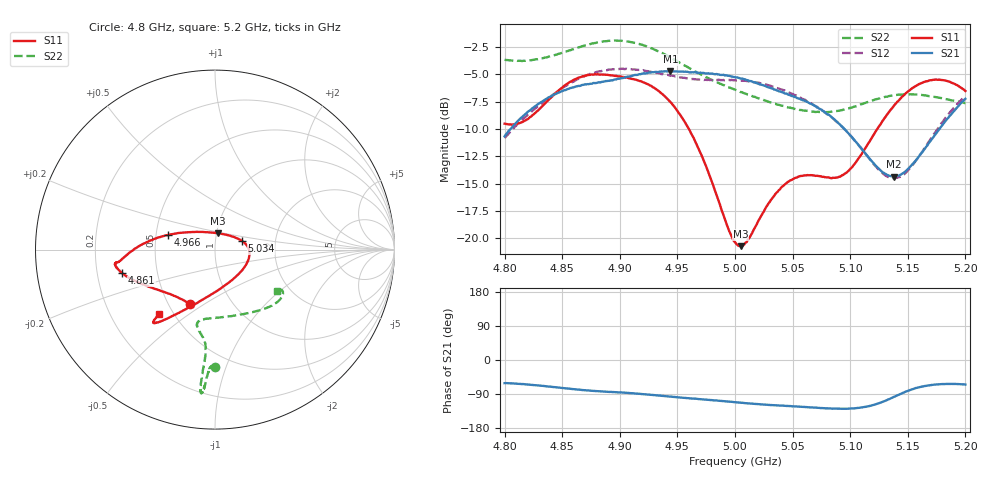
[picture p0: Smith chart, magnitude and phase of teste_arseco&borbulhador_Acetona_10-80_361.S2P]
! Network Analyzer HP8722D
! Hewlett-Packard
! Data name: Linha & Wilkinson
! Saver's name: Rodrigo Anjos
! Comments: Teste da utilização de aquisição
! continua pelo VNA HP8722D
! Time and date: 17/4/2025 17:22
!  Frequency  S11  S21  S12  S22
# HZ  S  MA R 50
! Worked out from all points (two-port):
!   401 points, 4.8 GHz to 5.2 GHz, reference 50 ohm
!   highest |S21| = -4.70 dB at 4.944 GHz (marker M1); lowest = -14.4 dB at 5.138 GHz (marker M2)
!   |S21| within 3 dB of the highest: 4.829 GHz to 5.066 GHz (236.8 MHz wide, 4.79 % of centre); 5.195515 GHz to end of sweep
!   lowest |S11| = -20.7 dB at 5.005 GHz (marker M3), VSWR 1.20, Z = 50.6 + j9.29 ohm
!   |S11| at or under -10 dB: 4.96 GHz to 5.123 GHz (163.3 MHz wide, 3.24 % of centre)
!   |S22| runs from -8.5 to -1.9 dB; largest |S21 - S12| = 0.87
!   S11 on the Smith chart (normalised r, x): 4.8 GHz: 0.64, -0.44; 4.861 GHz: 0.31, -0.11; 4.966 GHz: 0.58, +0.10; 5.034 GHz: 1.34, +0.14; 5.2 GHz: 0.42, -0.39
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4.8e9  0.3349 -114.1  0.2934 -61.1  0.2875 -175.1  0.6562 -90.2
4.819e9  0.3493 -133.9  0.374 -64.4  0.363 -173.9  0.6515 -91.8
4.861e9  0.5348 -165.8  0.493 -77.3  0.527 -177.0  0.7377 -94.0
4.867e9  0.5498 -168.2  0.503 -79.2  0.5454 -178.4  0.7562 -94.2
4.902e9  0.5481 -172.7  0.5411 -85.8  0.597 174.7  0.8011 -95.7
4.934e9  0.4715 -178.4  0.578 -94.1  0.5696 171.6  0.7144 -96.0
4.944e9  0.4205 177.1  0.5823 -96.7  0.5549 171.6  0.6725 -95.7
4.966e9  0.2744 162.7  0.5747 -102.2  0.534 173.5  0.5788 -95.1
5e9  0.09614 99.9  0.547 -111.3  0.5302 175.9  0.4789 -99.1
5.005e9  0.09215 81.3  0.5387 -112.8  0.5271 175.8  0.4668 -100.3
5.012e9  0.09994 57.8  0.5261 -114.6  0.5222 175.7  0.454 -101.8
5.034e9  0.1565 18.3  0.4797 -119.4  0.4931 174.5  0.4132 -103.3
5.05e9  0.1863 2.1  0.4483 -122.3  0.4579 173.8  0.3943 -99.2
5.067e9  0.1946 -16.1  0.4103 -125.2  0.4124 173.4  0.3802 -90.2
5.085e9  0.1894 -44.6  0.3549 -128.5  0.354 173.5  0.3816 -76.7
5.097e9  0.2004 -68.7  0.3083 -128.7  0.3085 174.7  0.3913 -66.9
5.123e9  0.3141 -108.6  0.2129 -116.0  0.2114 -170.6  0.434 -48.6
5.134e9  0.3803 -117.4  0.1933 -103.0  0.1896 -155.8  0.4484 -43.0
5.138e9  0.4048 -119.5  0.1916 -97.3  0.1885 -149.5  0.4512 -41.2
5.15e9  0.4696 -124.9  0.2072 -81.6  0.2041 -131.2  0.4565 -36.8
5.17e9  0.5296 -129.4  0.2806 -66.1  0.286 -112.2  0.447 -32.1
5.2e9  0.4726 -130.9  0.4351 -64.8  0.4475 -106.8  0.4155 -33.5
